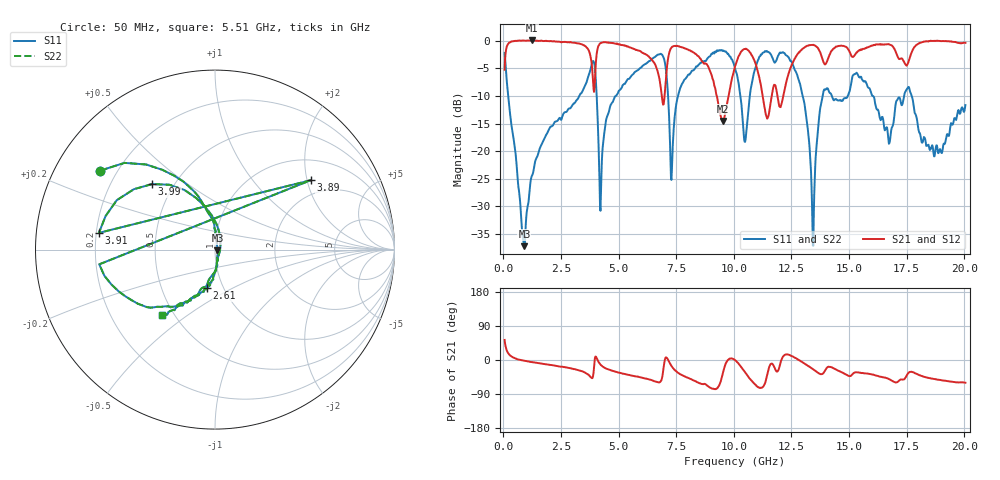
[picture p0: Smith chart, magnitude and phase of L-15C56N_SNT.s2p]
#	mhz	s	ma	r	50
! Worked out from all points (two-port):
!   1001 points, 50 MHz to 20.05 GHz, reference 50 ohm
!   highest |S21| = 0.08 dB at 1.25 GHz (marker M1); lowest = -14.5 dB at 9.53 GHz (marker M2)
!   |S21| within 3 dB of the highest: 78.06 MHz to 3.783 GHz (3.705 GHz wide, 192 % of centre); 17.64 GHz to end of sweep (the widest 2 of 8)
!   lowest |S11| = -37.2 dB at 910 MHz (marker M3), VSWR 1.03, Z = 51.3 - j0.373 ohm
!   |S11| at or under -10 dB: 206.8 MHz to 3.288 GHz (3.081 GHz wide, 176 % of centre); 16.03 GHz to 17.39 GHz (1.362 GHz wide, 8.15 % of centre); 17.72 GHz to end of sweep (the widest 3 of 8)
!   |S22| runs from -37.2 to -1.7 dB; largest |S21 - S12| = 0
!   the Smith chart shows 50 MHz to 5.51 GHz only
!   S11 on the Smith chart (normalised r, x): 50 MHz: 0.14, +0.31; 2.61 GHz: 0.84, -0.38; 3.89 GHz: 1.54, +2.10; 3.91 GHz: 0.21, +0.07; 3.99 GHz: 0.38, +0.37; 5.51 GHz: 0.43, -0.40
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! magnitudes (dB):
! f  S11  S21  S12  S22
! 50 MHz  -2.2  -5.2  -5.2  -2.2
! 910 MHz  -37.2  0.1  0.1  -37.2
! 1.25 GHz  -24.4  0.1  0.1  -24.4
! 2.61 GHz  -13.2  -0.2  -0.2  -13.2
! 3.39 GHz  -9.4  -0.6  -0.6  -9.4
! 3.89 GHz  -3.6  -7.4  -7.4  -3.6
! 3.91 GHz  -3.7  -8.6  -8.6  -3.7
! 3.99 GHz  -5.9  -5.4  -5.4  -5.9
! 4.23 GHz  -27.8  -0.4  -0.4  -27.8
! 5.51 GHz  -6.6  -1.2  -1.2  -6.6
! 6.73 GHz  -2.5  -6.1  -6.1  -2.5
! 7.31 GHz  -23.5  -1.1  -1.1  -23.5
! 7.77 GHz  -7.7  -1.2  -1.2  -7.7
! 9.53 GHz  -1.8  -14.5  -14.5  -1.8
! 10.05 GHz  -4.9  -4.6  -4.6  -4.9
! 10.49 GHz  -18.3  -1.5  -1.5  -18.3
! 11.45 GHz  -2.0  -14.1  -14.1  -2.0
! 12.45 GHz  -3.6  -5.0  -5.0  -3.6
! 13.39 GHz  -29.2  -0.7  -0.7  -29.2
! 13.99 GHz  -8.8  -4.2  -4.2  -8.8
! 16.73 GHz  -18.7  -0.6  -0.6  -18.7
! 20.05 GHz  -11.6  -0.3  -0.3  -11.6
